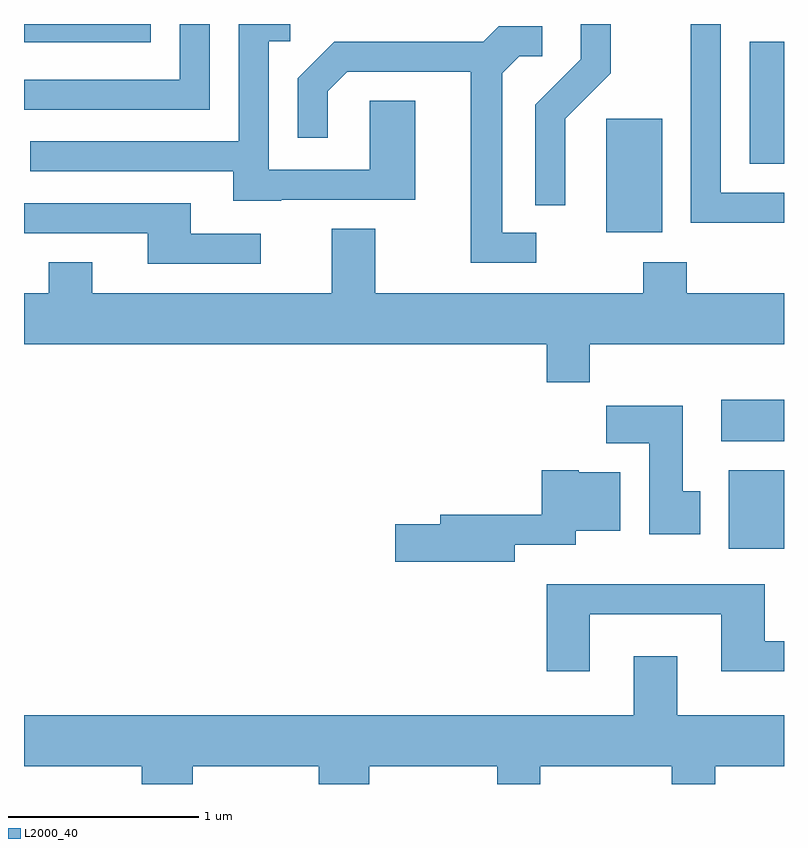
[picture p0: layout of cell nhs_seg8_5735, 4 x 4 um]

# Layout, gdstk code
import gdstk
lib = gdstk.Library(unit=1e-6, precision=1e-09)
def R(c, l, rs):  # rectangles x0, y0, x1, y1
    for r in rs: c.add(gdstk.rectangle(r[:2], r[2:], *l))
def P(c, l, *ps):  # polygons
    for p in ps: c.add(gdstk.Polygon(p, *l))
L2000_40 = (2000, 40)

nhs_seg8_5735 = lib.new_cell('nhs_seg8_5735')
R(nhs_seg8_5735, L2000_40, [(361.321,1817.581,361.611,1817.994), (361.281,1818.146,361.611,1818.364), (360.676,1819.246,360.969,1819.844), (361.431,1819.606,361.611,1820.249), (357.611,1820.246,358.279,1820.342)])
P(nhs_seg8_5735, L2000_40, [(361.611,1819.454),(361.279,1819.454),(361.279,1820.342),(361.121,1820.342),(361.121,1819.296),(361.611,1819.296)],
  [(360.459,1819.844),(360.699,1820.084),(360.699,1820.342),(360.541,1820.342),(360.541,1820.157),(360.301,1819.917),(360.301,1819.388),(360.459,1819.388)],
  [(358.589,1820.342),(358.431,1820.342),(358.431,1820.049),(357.611,1820.049),(357.611,1819.891),(358.589,1819.891)],
  [(358.965,1819.416),(359.669,1819.416),(359.669,1819.939),(359.431,1819.939),(359.431,1819.574),(358.899,1819.574),(358.899,1820.251),(359.013,1820.251),(359.013,1820.342),(358.741,1820.342),(358.741,1819.724),(357.643,1819.724),(357.643,1819.566),(358.711,1819.566),(358.711,1819.411),(358.965,1819.411)],
  [(360.308,1819.244),(360.129,1819.244),(360.129,1820.084),(360.217,1820.171),(360.338,1820.171),(360.338,1820.329),(360.109,1820.329),(360.029,1820.249),(359.244,1820.249),(359.051,1820.057),(359.051,1819.743),(359.209,1819.743),(359.209,1819.989),(359.312,1820.091),(359.961,1820.091),(359.961,1819.086),(360.308,1819.086)],
  [(358.858,1819.239),(358.489,1819.239),(358.489,1819.399),(357.611,1819.399),(357.611,1819.241),(358.261,1819.241),(358.261,1819.081),(358.858,1819.081)],
  [(360.589,1818.656),(361.611,1818.656),(361.611,1818.924),(361.099,1818.924),(361.099,1819.089),(360.871,1819.089),(360.871,1818.924),(359.459,1818.924),(359.459,1819.264),(359.231,1819.264),(359.231,1818.924),(357.969,1818.924),(357.969,1819.089),(357.741,1819.089),(357.741,1818.924),(357.611,1818.924),(357.611,1818.656),(360.361,1818.656),(360.361,1818.456),(360.589,1818.456)],
  [(361.169,1817.884),(361.079,1817.884),(361.079,1818.334),(360.676,1818.334),(360.676,1818.136),(360.901,1818.136),(360.901,1817.656),(361.169,1817.656)],
  [(360.194,1817.601),(360.514,1817.601),(360.514,1817.676),(360.749,1817.676),(360.749,1817.984),(360.53,1817.984),(360.53,1817.994),(360.336,1817.994),(360.336,1817.759),(359.801,1817.759),(359.801,1817.709),(359.566,1817.709),(359.566,1817.511),(360.194,1817.511)],
  [(360.589,1817.236),(361.281,1817.236),(361.281,1816.936),(361.611,1816.936),(361.611,1817.094),(361.509,1817.094),(361.509,1817.394),(360.361,1817.394),(360.361,1816.936),(360.589,1816.936)],
  [(358.499,1816.436),(359.161,1816.436),(359.161,1816.342),(359.429,1816.342),(359.429,1816.436),(360.101,1816.436),(360.101,1816.342),(360.329,1816.342),(360.329,1816.436),(361.021,1816.436),(361.021,1816.342),(361.249,1816.342),(361.249,1816.436),(361.611,1816.436),(361.611,1816.704),(361.049,1816.704),(361.049,1817.014),(360.821,1817.014),(360.821,1816.704),(357.611,1816.704),(357.611,1816.436),(358.231,1816.436),(358.231,1816.342),(358.499,1816.342)])

lib.write_gds('nhs_seg8_5735.gds')
